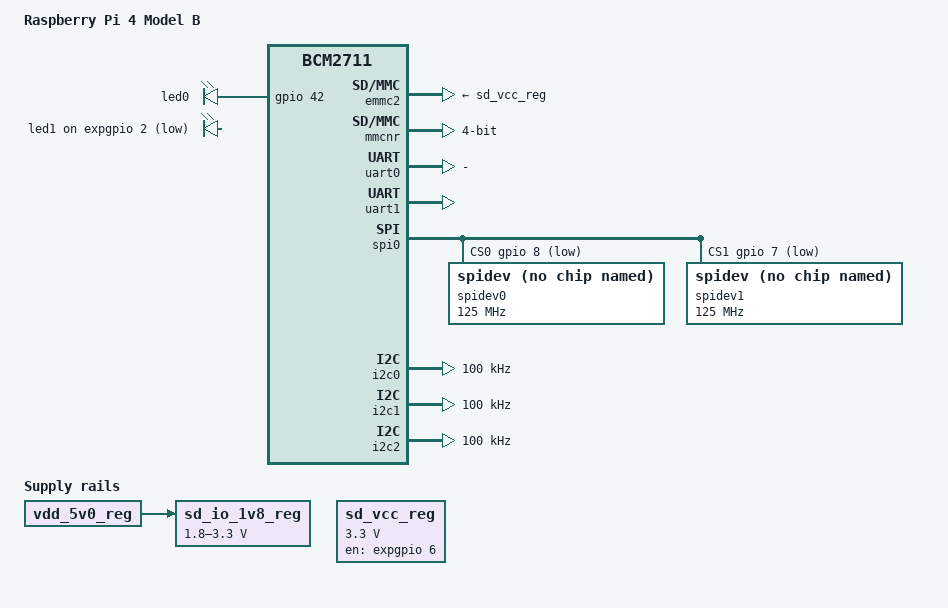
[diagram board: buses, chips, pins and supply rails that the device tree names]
/dts-v1/;

#include "bcm2711.dtsi"
#include "bcm2711-rpi.dtsi"
#include "bcm283x-rpi-csi1-2lane.dtsi"

/ {
	compatible = "raspberrypi,4-model-b", "brcm,bcm2711";
	model = "Raspberry Pi 4 Model B";

	memory@0 {
		device_type = "memory";
		reg = <0x0 0x0 0x0>;
	};

	chosen {
		bootargs = "coherent_pool=1M 8250.nr_uarts=1 cma=64M";
	};

	aliases {
		serial0 = &uart1;
		serial1 = &uart0;
		mmc0 = &emmc2;
		mmc1 = &mmcnr;
		mmc2 = &sdhost;
		i2c3 = &i2c3;
		i2c4 = &i2c4;
		i2c5 = &i2c5;
		i2c6 = &i2c6;
		/delete-property/ ethernet;
		/delete-property/ intc;
		ethernet0 = &genet;
		pcie0 = &pcie_0;
		emmc2bus = &emmc2bus;
	};
};

/delete-node/ &emmc2;

/ {
	emmc2bus: emmc2bus {
		compatible = "simple-bus";
		#address-cells = <2>;
		#size-cells = <1>;

		ranges = <0x0 0x7e000000  0x0 0xfe000000  0x01800000>;
		dma-ranges = <0x0 0xc0000000  0x0 0x00000000  0x3c000000>;

		emmc2: emmc2@7e340000 {
			compatible = "brcm,bcm2711-emmc2";
			status = "okay";
			interrupts = <GIC_SPI 126 IRQ_TYPE_LEVEL_HIGH>;
			clocks = <&clocks BCM2711_CLOCK_EMMC2>;
			reg = <0x0 0x7e340000 0x100>;
			vqmmc-supply = <&sd_io_1v8_reg>;
			broken-cd;
		};
	};
};

&mmcnr {
	pinctrl-names = "default";
	pinctrl-0 = <&sdio_pins>;
	bus-width = <4>;
	status = "okay";
};

&firmware {
	expgpio: gpio {
		compatible = "raspberrypi,firmware-gpio";
		gpio-controller;
		#gpio-cells = <2>;
		gpio-line-names = "BT_ON",
				  "WL_ON",
				  "PWR_LED_OFF",
				  "GLOBAL_RESET",
				  "VDD_SD_IO_SEL",
				  "CAM_GPIO",
				  "",
				  "";
		status = "okay";
	};
};

&uart0 {
	pinctrl-names = "default";
	pinctrl-0 = <&uart0_pins &bt_pins>;
	status = "okay";
};

&uart1 {
	pinctrl-names = "default";
	pinctrl-0 = <&uart1_pins>;
	status = "okay";
};

&spi0 {
	pinctrl-names = "default";
	pinctrl-0 = <&spi0_pins &spi0_cs_pins>;
	cs-gpios = <&gpio 8 1>, <&gpio 7 1>;

	spidev0: spidev@0{
		compatible = "spidev";
		reg = <0>;	/* CE0 */
		#address-cells = <1>;
		#size-cells = <0>;
		spi-max-frequency = <125000000>;
	};

	spidev1: spidev@1{
		compatible = "spidev";
		reg = <1>;	/* CE1 */
		#address-cells = <1>;
		#size-cells = <0>;
		spi-max-frequency = <125000000>;
	};
};

// =============================================
// Board specific stuff here

/ {

	sd_io_1v8_reg: sd_io_1v8_reg {
		status = "okay";
		compatible = "regulator-gpio";
		vin-supply = <&vdd_5v0_reg>;
		regulator-name = "vdd-sd-io";
		regulator-min-microvolt = <1800000>;
		regulator-max-microvolt = <3300000>;
		regulator-boot-on;
		regulator-always-on;
		regulator-settling-time-us = <5000>;

		gpios = <&expgpio 4 GPIO_ACTIVE_HIGH>;
		states = <1800000 0x1
			  3300000 0x0>;
	};

	sd_vcc_reg: sd_vcc_reg {
		compatible = "regulator-fixed";
		regulator-name = "vcc-sd";
		regulator-min-microvolt = <3300000>;
		regulator-max-microvolt = <3300000>;
		regulator-boot-on;
		enable-active-high;
		gpio = <&expgpio 6 GPIO_ACTIVE_HIGH>;
	};
};

&sdhost {
	status = "disabled";
};

&emmc2 {
	status = "okay";
	broken-cd;
	vqmmc-supply = <&sd_io_1v8_reg>;
	vmmc-supply = <&sd_vcc_reg>;
};

&leds {
	act_led: act {
		label = "led0";
		linux,default-trigger = "mmc0";
		gpios = <&gpio 42 GPIO_ACTIVE_HIGH>;
	};

	pwr_led: pwr {
		label = "led1";
		linux,default-trigger = "default-on";
		gpios = <&expgpio 2 GPIO_ACTIVE_LOW>;
	};
};

&audio {
	pinctrl-names = "default";
	pinctrl-0 = <&audio_pins>;
};

&sdhost_gpio48 {
	brcm,pins = <22 23 24 25 26 27>;
	brcm,function = <BCM2835_FSEL_ALT0>;
};

&gpio {
	spi0_pins: spi0_pins {
		brcm,pins = <9 10 11>;
		brcm,function = <BCM2835_FSEL_ALT0>;
	};

	spi0_cs_pins: spi0_cs_pins {
		brcm,pins = <8 7>;
		brcm,function = <BCM2835_FSEL_GPIO_OUT>;
	};

	spi3_pins: spi3_pins {
		brcm,pins = <1 2 3>;
		brcm,function = <BCM2835_FSEL_ALT3>;
	};

	spi3_cs_pins: spi3_cs_pins {
		brcm,pins = <0 24>;
		brcm,function = <BCM2835_FSEL_GPIO_OUT>;
	};

	spi4_pins: spi4_pins {
		brcm,pins = <5 6 7>;
		brcm,function = <BCM2835_FSEL_ALT3>;
	};

	spi4_cs_pins: spi4_cs_pins {
		brcm,pins = <4 25>;
		brcm,function = <BCM2835_FSEL_GPIO_OUT>;
	};

	spi5_pins: spi5_pins {
		brcm,pins = <13 14 15>;
		brcm,function = <BCM2835_FSEL_ALT3>;
	};

	spi5_cs_pins: spi5_cs_pins {
		brcm,pins = <12 26>;
		brcm,function = <BCM2835_FSEL_GPIO_OUT>;
	};

	spi6_pins: spi6_pins {
		brcm,pins = <19 20 21>;
		brcm,function = <BCM2835_FSEL_ALT3>;
	};

	spi6_cs_pins: spi6_cs_pins {
		brcm,pins = <18 27>;
		brcm,function = <BCM2835_FSEL_GPIO_OUT>;
	};

	i2c0_pins: i2c0 {
		brcm,pins = <0 1>;
		brcm,function = <BCM2835_FSEL_ALT0>;
		brcm,pull = <BCM2835_PUD_UP>;
	};

	i2c1_pins: i2c1 {
		brcm,pins = <2 3>;
		brcm,function = <BCM2835_FSEL_ALT0>;
		brcm,pull = <BCM2835_PUD_UP>;
	};

	i2c3_pins: i2c3 {
		brcm,pins = <4 5>;
		brcm,function = <BCM2835_FSEL_ALT5>;
		brcm,pull = <BCM2835_PUD_UP>;
	};

	i2c4_pins: i2c4 {
		brcm,pins = <8 9>;
		brcm,function = <BCM2835_FSEL_ALT5>;
		brcm,pull = <BCM2835_PUD_UP>;
	};

	i2c5_pins: i2c5 {
		brcm,pins = <12 13>;
		brcm,function = <BCM2835_FSEL_ALT5>;
		brcm,pull = <BCM2835_PUD_UP>;
	};

	i2c6_pins: i2c6 {
		brcm,pins = <22 23>;
		brcm,function = <BCM2835_FSEL_ALT5>;
		brcm,pull = <BCM2835_PUD_UP>;
	};

	i2s_pins: i2s {
		brcm,pins = <18 19 20 21>;
		brcm,function = <BCM2835_FSEL_ALT0>;
	};

	sdio_pins: sdio_pins {
		brcm,pins =     <34 35 36 37 38 39>;
		brcm,function = <BCM2835_FSEL_ALT3>; // alt3 = SD1
		brcm,pull =     <0 2 2 2 2 2>;
	};

	bt_pins: bt_pins {
		brcm,pins = "-"; // non-empty to keep btuart happy, //4 = 0
				 // to fool pinctrl
		brcm,function = <0>;
		brcm,pull = <2>;
	};

	uart0_pins: uart0_pins {
		brcm,pins = <32 33>;
		brcm,function = <BCM2835_FSEL_ALT3>;
		brcm,pull = <0 2>;
	};

	uart1_pins: uart1_pins {
		brcm,pins;
		brcm,function;
		brcm,pull;
	};

	uart2_pins: uart2_pins {
		brcm,pins = <0 1>;
		brcm,function = <BCM2835_FSEL_ALT4>;
		brcm,pull = <0 2>;
	};

	uart3_pins: uart3_pins {
		brcm,pins = <4 5>;
		brcm,function = <BCM2835_FSEL_ALT4>;
		brcm,pull = <0 2>;
	};

	uart4_pins: uart4_pins {
		brcm,pins = <8 9>;
		brcm,function = <BCM2835_FSEL_ALT4>;
		brcm,pull = <0 2>;
	};

	uart5_pins: uart5_pins {
		brcm,pins = <12 13>;
		brcm,function = <BCM2835_FSEL_ALT4>;
		brcm,pull = <0 2>;
	};

	audio_pins: audio_pins {
		brcm,pins = <40 41>;
		brcm,function = <4>;
	};
};

&i2c0 {
	pinctrl-names = "default";
	pinctrl-0 = <&i2c0_pins>;
	clock-frequency = <100000>;
};

&i2c1 {
	pinctrl-names = "default";
	pinctrl-0 = <&i2c1_pins>;
	clock-frequency = <100000>;
};

&i2c2 {
	clock-frequency = <100000>;
};

&i2s {
	pinctrl-names = "default";
	pinctrl-0 = <&i2s_pins>;
};

/ {
	__overrides__ {
		act_led_gpio = <&act_led>,"gpios:4";
		act_led_activelow = <&act_led>,"gpios:8";
		act_led_trigger = <&act_led>,"linux,default-trigger";

		pwr_led_gpio = <&pwr_led>,"gpios:4";
		pwr_led_activelow = <&pwr_led>,"gpios:8";
		pwr_led_trigger = <&pwr_led>,"linux,default-trigger";

		eth_led0 = <&phy1>,"led-modes:0";
		eth_led1 = <&phy1>,"led-modes:4";

		sd_poll_once = <&emmc2>, "non-removable?";
		spi_dma4 = <&spi0>, "dmas:0=", <&dma40>,
			   <&spi0>, "dmas:8=", <&dma40>;
	};
};
